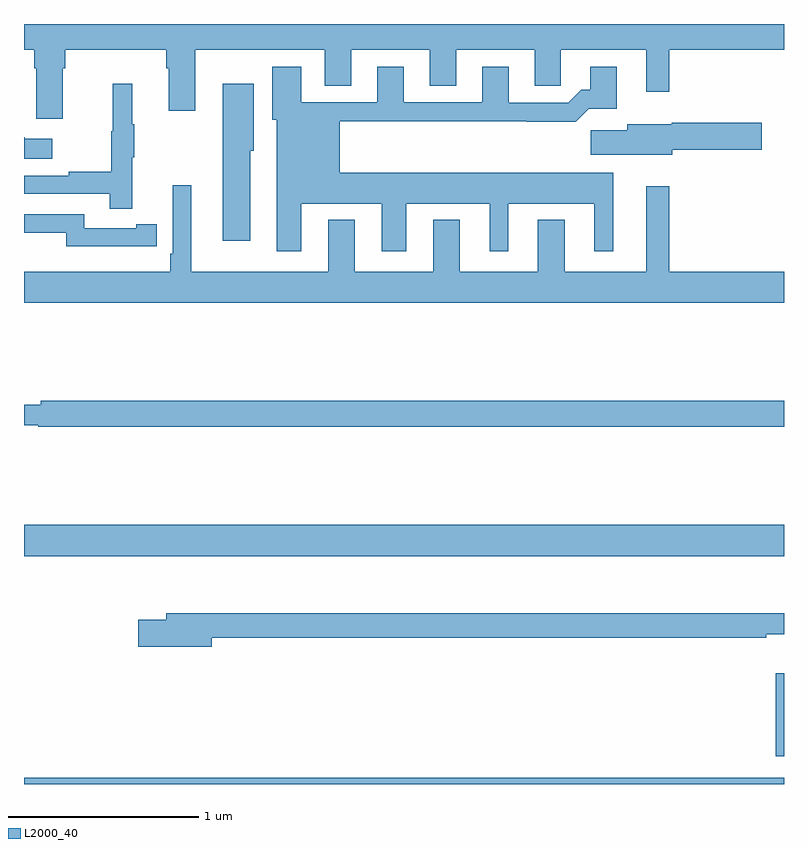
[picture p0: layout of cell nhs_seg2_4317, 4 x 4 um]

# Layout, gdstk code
import gdstk
lib = gdstk.Library(unit=1e-6, precision=1e-09)
def R(c, l, rs):  # rectangles x0, y0, x1, y1
    for r in rs: c.add(gdstk.rectangle(r[:2], r[2:], *l))
def P(c, l, *ps):  # polygons
    for p in ps: c.add(gdstk.Polygon(p, *l))
L2000_40 = (2000, 40)

nhs_seg2_4317 = lib.new_cell('nhs_seg2_4317')
R(nhs_seg2_4317, L2000_40, [(345,615.8,349,615.832), (348.956,615.947,349,616.384), (345,617,349,617.164)])
P(nhs_seg2_4317, L2000_40, [(345.205,619.568),(345.218,619.568),(345.218,619.664),(345.749,619.664),(345.749,619.568),(345.761,619.568),(345.761,619.344),(345.901,619.344),(345.901,619.664),(346.583,619.664),(346.583,619.474),(346.723,619.474),(346.723,619.664),(347.135,619.664),(347.135,619.474),(347.275,619.474),(347.275,619.664),(347.687,619.664),(347.687,619.474),(347.826,619.474),(347.826,619.664),(348.275,619.664),(348.275,619.443),(348.397,619.443),(348.397,619.664),(349,619.664),(349,619.8),(345,619.8),(345,619.664),(345.053,619.664),(345.053,619.568),(345.065,619.568),(345.065,619.302),(345.205,619.302)],
  [(346.459,618.854),(346.883,618.854),(346.883,618.603),(347.011,618.603),(347.011,618.854),(347.45,618.854),(347.45,618.603),(347.548,618.603),(347.548,618.854),(348.002,618.854),(348.002,618.603),(348.1,618.603),(348.1,619.018),(346.663,619.018),(346.663,619.288),(347.647,619.288),(347.647,619.286),(347.903,619.286),(347.972,619.355),(348.121,619.355),(348.121,619.576),(347.981,619.576),(347.981,619.453),(347.932,619.453),(347.865,619.386),(347.551,619.386),(347.551,619.576),(347.411,619.576),(347.411,619.389),(346.999,619.389),(346.999,619.576),(346.859,619.576),(346.859,619.389),(346.459,619.389),(346.459,619.576),(346.307,619.576),(346.307,619.296),(346.331,619.296),(346.331,618.603),(346.459,618.603)],
  [(345.569,619.099),(345.58,619.099),(345.58,619.273),(345.569,619.273),(345.569,619.486),(345.466,619.486),(345.466,619.236),(345.459,619.236),(345.459,619.022),(345.235,619.022),(345.235,619.002),(345,619.002),(345,618.906),(345.451,618.906),(345.451,618.828),(345.569,618.828)],
  [(346.192,619.134),(346.21,619.134),(346.21,619.486),(346.046,619.486),(346.046,618.66),(346.192,618.66)],
  [(348.412,619.139),(348.883,619.139),(348.883,619.281),(348.408,619.281),(348.408,619.273),(348.176,619.273),(348.176,619.241),(347.982,619.241),(347.982,619.112),(348.412,619.112)],
  [(345.148,619.195),(345.005,619.195),(345.005,619.205),(345,619.205),(345,619.091),(345.148,619.091)],
  [(349,618.496),(348.397,618.496),(348.397,618.946),(348.275,618.946),(348.275,618.496),(347.845,618.496),(347.845,618.769),(347.705,618.769),(347.705,618.496),(347.293,618.496),(347.293,618.769),(347.153,618.769),(347.153,618.496),(346.741,618.496),(346.741,618.769),(346.601,618.769),(346.601,618.496),(345.88,618.496),(345.88,618.952),(345.783,618.952),(345.783,618.592),(345.77,618.592),(345.77,618.496),(345,618.496),(345,618.332),(349,618.332)],
  [(345.59,618.63),(345.698,618.63),(345.698,618.746),(345.59,618.746),(345.59,618.726),(345.318,618.726),(345.318,618.798),(345,618.798),(345,618.702),(345.222,618.702),(345.222,618.629),(345.59,618.629)],
  [(349,617.816),(345.088,617.816),(345.088,617.797),(345,617.797),(345,617.688),(345.074,617.688),(345.074,617.68),(349,617.68)],
  [(345.988,616.57),(348.907,616.57),(348.907,616.589),(349,616.589),(349,616.699),(345.749,616.699),(345.749,616.665),(345.6,616.665),(345.6,616.523),(345.988,616.523)])

lib.write_gds('nhs_seg2_4317.gds')
